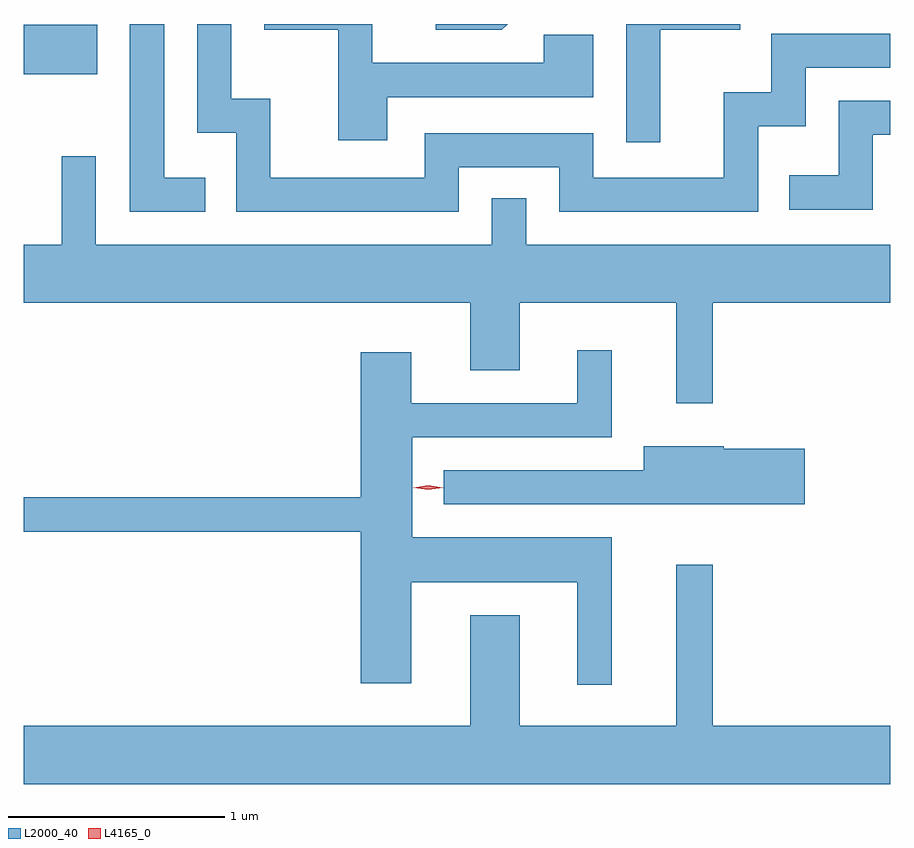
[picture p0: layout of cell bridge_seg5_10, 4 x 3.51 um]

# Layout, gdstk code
import gdstk
lib = gdstk.Library(unit=1e-6, precision=1e-09)
def R(c, l, rs):  # rectangles x0, y0, x1, y1
    for r in rs: c.add(gdstk.rectangle(r[:2], r[2:], *l))
def P(c, l, *ps):  # polygons
    for p in ps: c.add(gdstk.Polygon(p, *l))
L2000_40 = (2000, 40)
L4165_0 = (4165, 0)

bridge_seg5_10 = lib.new_cell('bridge_seg5_10')
R(bridge_seg5_10, L2000_40, [(1725.56,1428.991,1725.899,1429.219)])
P(bridge_seg5_10, L2000_40, [(1727.239,1428.886),(1728.189,1428.886),(1728.189,1429.174),(1727.961,1429.174),(1727.961,1429.044),(1727.169,1429.044),(1727.169,1429.223),(1726.671,1429.223),(1726.671,1429.196),(1727.011,1429.196),(1727.011,1428.686),(1727.239,1428.686)],
  [(1728.499,1429.196),(1728.868,1429.196),(1728.868,1429.223),(1728.341,1429.223),(1728.341,1428.678),(1728.499,1428.678)],
  [(1727.794,1429.223),(1727.463,1429.223),(1727.463,1429.196),(1727.767,1429.196)],
  [(1727.569,1428.561),(1728.031,1428.561),(1728.031,1428.356),(1728.949,1428.356),(1728.949,1428.751),(1729.169,1428.751),(1729.169,1429.021),(1729.56,1429.021),(1729.56,1429.179),(1729.011,1429.179),(1729.011,1428.909),(1728.791,1428.909),(1728.791,1428.514),(1728.189,1428.514),(1728.189,1428.719),(1727.411,1428.719),(1727.411,1428.514),(1726.699,1428.514),(1726.699,1428.879),(1726.519,1428.879),(1726.519,1429.223),(1726.361,1429.223),(1726.361,1428.721),(1726.541,1428.721),(1726.541,1428.356),(1727.569,1428.356)],
  [(1726.398,1428.514),(1726.209,1428.514),(1726.209,1429.223),(1726.051,1429.223),(1726.051,1428.356),(1726.398,1428.356)],
  [(1729.479,1428.711),(1729.56,1428.711),(1729.56,1428.869),(1729.321,1428.869),(1729.321,1428.524),(1729.093,1428.524),(1729.093,1428.366),(1729.479,1428.366)],
  [(1728.739,1427.936),(1729.56,1427.936),(1729.56,1428.204),(1727.879,1428.204),(1727.879,1428.418),(1727.721,1428.418),(1727.721,1428.204),(1725.894,1428.204),(1725.894,1428.613),(1725.736,1428.613),(1725.736,1428.204),(1725.56,1428.204),(1725.56,1427.936),(1727.621,1427.936),(1727.621,1427.626),(1727.849,1427.626),(1727.849,1427.936),(1728.571,1427.936),(1728.571,1427.473),(1728.739,1427.473)],
  [(1728.274,1426.854),(1727.354,1426.854),(1727.354,1427.316),(1728.274,1427.316),(1728.274,1427.718),(1728.116,1427.718),(1728.116,1427.474),(1727.349,1427.474),(1727.349,1427.709),(1727.116,1427.709),(1727.116,1427.039),(1725.56,1427.039),(1725.56,1426.881),(1727.116,1426.881),(1727.116,1426.181),(1727.349,1426.181),(1727.349,1426.646),(1728.116,1426.646),(1728.116,1426.173),(1728.274,1426.173)],
  [(1729.164,1427.264),(1728.79,1427.264),(1728.79,1427.274),(1728.421,1427.274),(1728.421,1427.164),(1727.498,1427.164),(1727.498,1427.006),(1729.164,1427.006)],
  [(1729.56,1425.984),(1728.739,1425.984),(1728.739,1426.728),(1728.571,1426.728),(1728.571,1425.984),(1727.849,1425.984),(1727.849,1426.494),(1727.621,1426.494),(1727.621,1425.984),(1725.56,1425.984),(1725.56,1425.716),(1729.56,1425.716)])
P(bridge_seg5_10, L4165_0, [(1727.427,1427.074),(1727.357,1427.083),(1727.357,1427.084),(1727.357,1427.084),(1727.427,1427.094),(1727.496,1427.084),(1727.496,1427.084),(1727.496,1427.083)],
  [(1727.427,1427.074),(1727.362,1427.083),(1727.361,1427.084),(1727.362,1427.084),(1727.427,1427.094),(1727.492,1427.084),(1727.493,1427.084),(1727.492,1427.083)])

lib.write_gds('bridge_seg5_10.gds')
